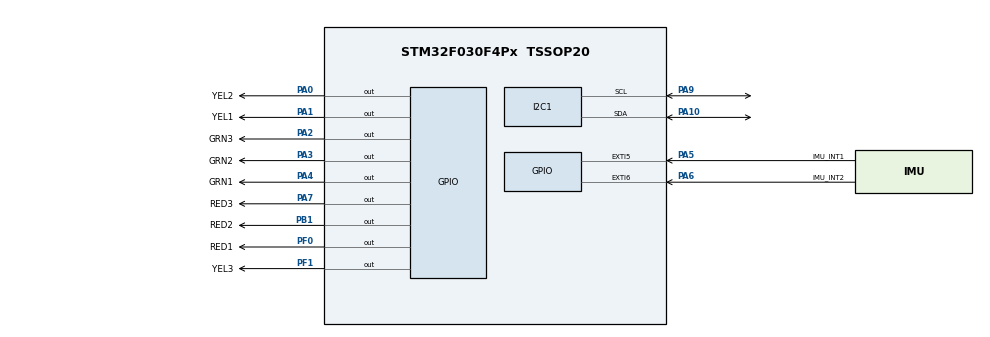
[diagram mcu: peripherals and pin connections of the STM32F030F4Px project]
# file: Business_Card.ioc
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Mcu.Family=STM32F0
Mcu.Name=STM32F030F4Px
Mcu.Package=TSSOP20
PA0.GPIO_Label=YEL2
PA0.Signal=GPIO_Output
PA1.GPIO_Label=YEL1
PA1.Signal=GPIO_Output
PA10.GPIO_Pu=GPIO_PULLUP
PA10.Mode=I2C
PA10.Signal=I2C1_SDA
PA13.Mode=Serial_Wire
PA13.Signal=SYS_SWDIO
PA14.Mode=Serial_Wire
PA14.Signal=SYS_SWCLK
PA2.GPIO_Label=GRN3
PA2.Signal=GPIO_Output
PA3.GPIO_Label=GRN2
PA3.Signal=GPIO_Output
PA4.GPIO_Label=GRN1
PA4.Signal=GPIO_Output
PA5.GPIO_Label=IMU_INT1
PA5.Signal=GPXTI5
PA6.GPIO_Label=IMU_INT2
PA6.Signal=GPXTI6
PA7.GPIO_Label=RED3
PA7.Signal=GPIO_Output
PA9.GPIO_Pu=GPIO_PULLUP
PA9.Mode=I2C
PA9.Signal=I2C1_SCL
PB1.GPIO_Label=RED2
PB1.Signal=GPIO_Output
PF0-OSC_IN.GPIO_Label=RED1
PF0-OSC_IN.Signal=GPIO_Output
PF1-OSC_OUT.GPIO_Label=YEL3
PF1-OSC_OUT.Signal=GPIO_Output
ProjectManager.HeapSize=0x200
ProjectManager.StackSize=0x400
ProjectManager.TargetToolchain=STM32CubeIDE
board=custom

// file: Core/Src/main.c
/* USER CODE BEGIN Header */
/**
  ******************************************************************************
  * @file           : main.c
  * @brief          : Main program body
  ******************************************************************************
  * @attention
  *
  * Copyright (c) 2023 STMicroelectronics.
  * All rights reserved.
  *
  * This software is licensed under terms that can be found in the LICENSE file
  * in the root directory of this software component.
  * If no LICENSE file comes with this software, it is provided AS-IS.
  *
  ******************************************************************************
  */
/* USER CODE END Header */
#include "main.h"
#include <stdbool.h>
#include <stdlib.h>

/* USER CODE BEGIN PD */

#define IMU_I2C_ADDR (0b1101000 << 1)
#define IMU_REG_DEVICE_CONFIG 0x01
#define IMU_REG_DRIVE_CONFIG2 0x04
#define IMU_REG_WHOAMI 0x75
#define IMU_WHOAMI_VALUE 0x67
#define IMU_REG_TEMP_DATA1 0x09
#define IMU_REG_TEMP_DATA0 0x0A
#define IMU_REG_MCLK_RDY 0x00

#define IMU_REG_ACCEL_DATA_X1 0x0B
#define IMU_REG_ACCEL_DATA_X0 0x0C

#define IMU_REG_PWR_MGMT0 0x1F

/* USER CODE END PD */

I2C_HandleTypeDef hi2c1;

/* USER CODE BEGIN PV */

int16_t IMUAccelX = 0;

/* USER CODE END PV */

void SystemClock_Config(void);
static void MX_GPIO_Init(void);
static void MX_I2C1_Init(void);

/* USER CODE BEGIN 0 */

int RandomInt(int min, int max){
   return min + rand() / (RAND_MAX / (max - min + 1) + 1);
}

void PowerIMUOn(){
	uint8_t data = 0b00001111;
	HAL_I2C_Mem_Write(&hi2c1, IMU_I2C_ADDR, IMU_REG_PWR_MGMT0, I2C_MEMADD_SIZE_8BIT, &data, 1, HAL_MAX_DELAY);
}

int16_t GetIMUAccelX(){

	uint8_t data1;
	HAL_I2C_Mem_Read(&hi2c1, IMU_I2C_ADDR, IMU_REG_ACCEL_DATA_X1, I2C_MEMADD_SIZE_8BIT, &data1, 1, HAL_MAX_DELAY);
	uint8_t data0;
	HAL_I2C_Mem_Read(&hi2c1, IMU_I2C_ADDR, IMU_REG_ACCEL_DATA_X0, I2C_MEMADD_SIZE_8BIT, &data0, 1, HAL_MAX_DELAY);

	int16_t data = (((int16_t)data1) << 8) + data0;

	return data;
}

int DetectCardShake(){
	if (abs(GetIMUAccelX()) > 6000){
		return 1;
	}
	else {
		return 0;
	}
}

int VerifyIMU(){
	uint8_t data;
	HAL_I2C_Mem_Read(&hi2c1, IMU_I2C_ADDR, IMU_REG_WHOAMI, I2C_MEMADD_SIZE_8BIT, &data, 1, HAL_MAX_DELAY);

	if (data == IMU_WHOAMI_VALUE){
		return 1;
	}
	else {
		return 0;
	}
}

void OneHotEncodeLED(int lightIndex){

	bool ledSwitch = false;

	HAL_GPIO_WritePin(GPIOF, RED1_Pin, ledSwitch);
	HAL_GPIO_WritePin(RED2_GPIO_Port, RED2_Pin, ledSwitch);
	HAL_GPIO_WritePin(GPIOA, RED3_Pin, ledSwitch);
	HAL_GPIO_WritePin(GPIOA, YEL1_Pin, ledSwitch);
	HAL_GPIO_WritePin(GPIOA, YEL2_Pin, ledSwitch);
	HAL_GPIO_WritePin(GPIOF, YEL3_Pin, ledSwitch);
	HAL_GPIO_WritePin(GPIOA, GRN1_Pin, ledSwitch);
	HAL_GPIO_WritePin(GPIOA, GRN2_Pin, ledSwitch);
	HAL_GPIO_WritePin(GPIOA, GRN3_Pin, ledSwitch);

	ledSwitch = true;

	switch (lightIndex){

		case 0:
			HAL_GPIO_WritePin(GPIOF, RED1_Pin, ledSwitch);
			break;
		case 1:
			HAL_GPIO_WritePin(RED2_GPIO_Port, RED2_Pin, ledSwitch);
			break;
		case 2:
			HAL_GPIO_WritePin(GPIOA, RED3_Pin, ledSwitch);
			break;
		case 3:
			HAL_GPIO_WritePin(GPIOA, YEL1_Pin, ledSwitch);
			break;
		case 4:
			HAL_GPIO_WritePin(GPIOA, YEL2_Pin, ledSwitch);
			break;
		case 5:
			HAL_GPIO_WritePin(GPIOF, YEL3_Pin, ledSwitch);
			break;
		case 6:
			HAL_GPIO_WritePin(GPIOA, GRN1_Pin, ledSwitch);
			break;
		case 7:
			HAL_GPIO_WritePin(GPIOA, GRN2_Pin, ledSwitch);
			break;
		case 8:
			HAL_GPIO_WritePin(GPIOA, GRN3_Pin, ledSwitch);
			break;
		case 9:
			break;

	}

}

/* USER CODE END 0 */

int main(void)
{

  /* MCU Configuration--------------------------------------------------------*/

  /* Reset of all peripherals, Initializes the Flash interface and the Systick. */
  HAL_Init();

  /* Configure the system clock */
  SystemClock_Config();

  /* Initialize all configured peripherals */
  MX_GPIO_Init();
  MX_I2C1_Init();
  /* USER CODE BEGIN 2 */

  while(!VerifyIMU()){}

  PowerIMUOn();

  for (int i = 0; i < 10; i ++){
	  OneHotEncodeLED(i);
	  HAL_Delay(100);
  }

  /* USER CODE END 2 */

  /* Infinite loop */
  /* USER CODE BEGIN WHILE */
  while (1)
  {

	  if (DetectCardShake()){
		  OneHotEncodeLED(RandomInt(0,8));
	  }

    /* USER CODE END WHILE */

  }
}

void SystemClock_Config(void)
{
  RCC_OscInitTypeDef RCC_OscInitStruct = {0};
  RCC_ClkInitTypeDef RCC_ClkInitStruct = {0};
  RCC_PeriphCLKInitTypeDef PeriphClkInit = {0};

  /** Initializes the RCC Oscillators according to the specified parameters
  * in the RCC_OscInitTypeDef structure.
  */
  RCC_OscInitStruct.OscillatorType = RCC_OSCILLATORTYPE_HSI;
  RCC_OscInitStruct.HSIState = RCC_HSI_ON;
  RCC_OscInitStruct.HSICalibrationValue = RCC_HSICALIBRATION_DEFAULT;
  RCC_OscInitStruct.PLL.PLLState = RCC_PLL_NONE;
  if (HAL_RCC_OscConfig(&RCC_OscInitStruct) != HAL_OK)
  {
    Error_Handler();
  }

  /** Initializes the CPU, AHB and APB buses clocks
  */
  RCC_ClkInitStruct.ClockType = RCC_CLOCKTYPE_HCLK|RCC_CLOCKTYPE_SYSCLK
                              |RCC_CLOCKTYPE_PCLK1;
  RCC_ClkInitStruct.SYSCLKSource = RCC_SYSCLKSOURCE_HSI;
  RCC_ClkInitStruct.AHBCLKDivider = RCC_SYSCLK_DIV1;
  RCC_ClkInitStruct.APB1CLKDivider = RCC_HCLK_DIV1;

  if (HAL_RCC_ClockConfig(&RCC_ClkInitStruct, FLASH_LATENCY_0) != HAL_OK)
  {
    Error_Handler();
  }
  PeriphClkInit.PeriphClockSelection = RCC_PERIPHCLK_I2C1;
  PeriphClkInit.I2c1ClockSelection = RCC_I2C1CLKSOURCE_HSI;
  if (HAL_RCCEx_PeriphCLKConfig(&PeriphClkInit) != HAL_OK)
  {
    Error_Handler();
  }
}

static void MX_I2C1_Init(void)
{

  hi2c1.Instance = I2C1;
  hi2c1.Init.Timing = 0x2000090E;
  hi2c1.Init.OwnAddress1 = 0;
  hi2c1.Init.AddressingMode = I2C_ADDRESSINGMODE_7BIT;
  hi2c1.Init.DualAddressMode = I2C_DUALADDRESS_DISABLE;
  hi2c1.Init.OwnAddress2 = 0;
  hi2c1.Init.OwnAddress2Masks = I2C_OA2_NOMASK;
  hi2c1.Init.GeneralCallMode = I2C_GENERALCALL_DISABLE;
  hi2c1.Init.NoStretchMode = I2C_NOSTRETCH_DISABLE;
  if (HAL_I2C_Init(&hi2c1) != HAL_OK)
  {
    Error_Handler();
  }

  /** Configure Analogue filter
  */
  if (HAL_I2CEx_ConfigAnalogFilter(&hi2c1, I2C_ANALOGFILTER_ENABLE) != HAL_OK)
  {
    Error_Handler();
  }

  /** Configure Digital filter
  */
  if (HAL_I2CEx_ConfigDigitalFilter(&hi2c1, 0) != HAL_OK)
  {
    Error_Handler();
  }

}

static void MX_GPIO_Init(void)
{
  GPIO_InitTypeDef GPIO_InitStruct = {0};

  /* GPIO Ports Clock Enable */
  __HAL_RCC_GPIOF_CLK_ENABLE();
  __HAL_RCC_GPIOA_CLK_ENABLE();
  __HAL_RCC_GPIOB_CLK_ENABLE();

  /*Configure GPIO pin Output Level */
  HAL_GPIO_WritePin(GPIOF, RED1_Pin|YEL3_Pin, GPIO_PIN_RESET);

  /*Configure GPIO pin Output Level */
  HAL_GPIO_WritePin(GPIOA, YEL2_Pin|YEL1_Pin|GRN3_Pin|GRN2_Pin
                          |GRN1_Pin|RED3_Pin, GPIO_PIN_RESET);

  /*Configure GPIO pin Output Level */
  HAL_GPIO_WritePin(RED2_GPIO_Port, RED2_Pin, GPIO_PIN_RESET);

  /*Configure GPIO pins : RED1_Pin YEL3_Pin */
  GPIO_InitStruct.Pin = RED1_Pin|YEL3_Pin;
  GPIO_InitStruct.Mode = GPIO_MODE_OUTPUT_PP;
  GPIO_InitStruct.Pull = GPIO_NOPULL;
  GPIO_InitStruct.Speed = GPIO_SPEED_FREQ_LOW;
  HAL_GPIO_Init(GPIOF, &GPIO_InitStruct);

  /*Configure GPIO pins : YEL2_Pin YEL1_Pin GRN3_Pin GRN2_Pin
                           GRN1_Pin RED3_Pin */
  GPIO_InitStruct.Pin = YEL2_Pin|YEL1_Pin|GRN3_Pin|GRN2_Pin
                          |GRN1_Pin|RED3_Pin;
  GPIO_InitStruct.Mode = GPIO_MODE_OUTPUT_PP;
  GPIO_InitStruct.Pull = GPIO_NOPULL;
  GPIO_InitStruct.Speed = GPIO_SPEED_FREQ_LOW;
  HAL_GPIO_Init(GPIOA, &GPIO_InitStruct);

  /*Configure GPIO pins : IMU_INT1_Pin IMU_INT2_Pin */
  GPIO_InitStruct.Pin = IMU_INT1_Pin|IMU_INT2_Pin;
  GPIO_InitStruct.Mode = GPIO_MODE_IT_RISING;
  GPIO_InitStruct.Pull = GPIO_NOPULL;
  HAL_GPIO_Init(GPIOA, &GPIO_InitStruct);

  /*Configure GPIO pin : RED2_Pin */
  GPIO_InitStruct.Pin = RED2_Pin;
  GPIO_InitStruct.Mode = GPIO_MODE_OUTPUT_PP;
  GPIO_InitStruct.Pull = GPIO_NOPULL;
  GPIO_InitStruct.Speed = GPIO_SPEED_FREQ_LOW;
  HAL_GPIO_Init(RED2_GPIO_Port, &GPIO_InitStruct);

}

void Error_Handler(void)
{
  __disable_irq();
  while (1)
  {
  }
}
